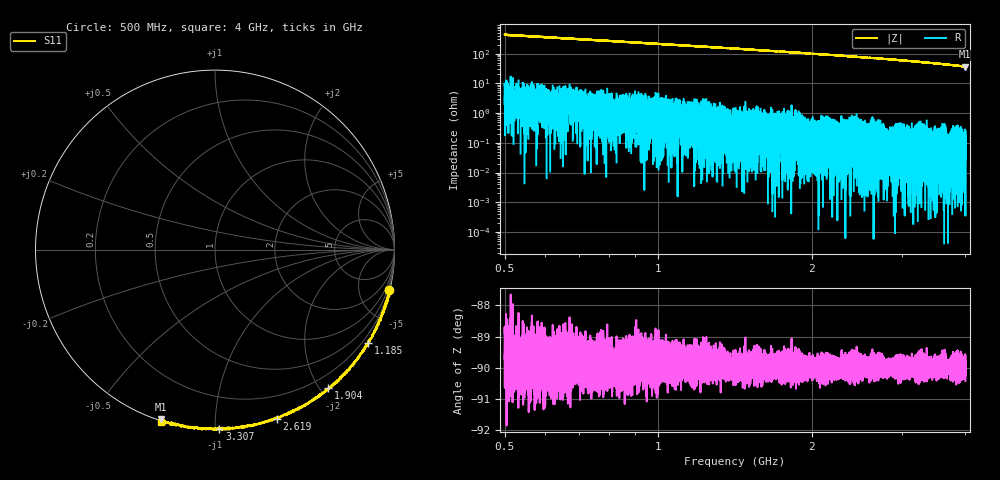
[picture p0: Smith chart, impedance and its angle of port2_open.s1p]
!Agilent Technologies,E8363C,MY49030273,A.09.42.18
!Agilent E8363C: A.09.42.18
!Date: Tuesday, May 03, 2022 03:56:08
!Correction: S22(Full 2 Port(1,2))
!S1P File: Measurement: S22:
# Hz S  dB  R 50
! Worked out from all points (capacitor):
!   32001 points, 500 MHz to 4 GHz, reference 50 ohm
!   read as one part to ground: C = 745 fF near 517.5 MHz
!   lowest |Z| = 36.5 ohm at 3.999 GHz (marker M1)
!   S11 on the Smith chart (normalised r, x): 500 MHz: 0.17, -8.71; 1.185 GHz: 0.00, -3.55; 1.904 GHz: 0.01, -2.11; 2.619 GHz: -0.01, -1.43; 3.307 GHz: -0.00, -1.03; 4 GHz: -0.01, -0.73
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5e8  -0.04 -13.1
5.631094e8  0.00 -14.6
7.393125e8  -0.01 -19.5
9.375e8  0.02 -25.1
1.185453e9  -0.00 -31.5
1.375e9  0.01 -36.5
1.642969e9  -0.03 -43.7
1.8125e9  0.03 -48.2
1.904047e9  -0.03 -50.8
2.139641e9  -0.01 -57.3
2.25e9  0.03 -60.1
2.394703e9  0.04 -63.9
2.457266e9  0.03 -65.7
2.619469e9  0.04 -70.0
2.6875e9  0.01 -72.2
2.892031e9  0.01 -77.3
3.125e9  0.04 -83.5
3.260625e9  -0.03 -87.2
3.306562e9  0.00 -88.6
3.472484e9  -0.05 -93.2
3.5625e9  -0.03 -95.6
3.633812e9  -0.02 -97.9
3.695719e9  -0.03 -99.0
3.788141e9  -0.05 -101.7
3.855516e9  -0.05 -103.8
3.982391e9  0.02 -107.2
3.999453e9  -0.06 -107.7
4e9  0.06 -107.6
